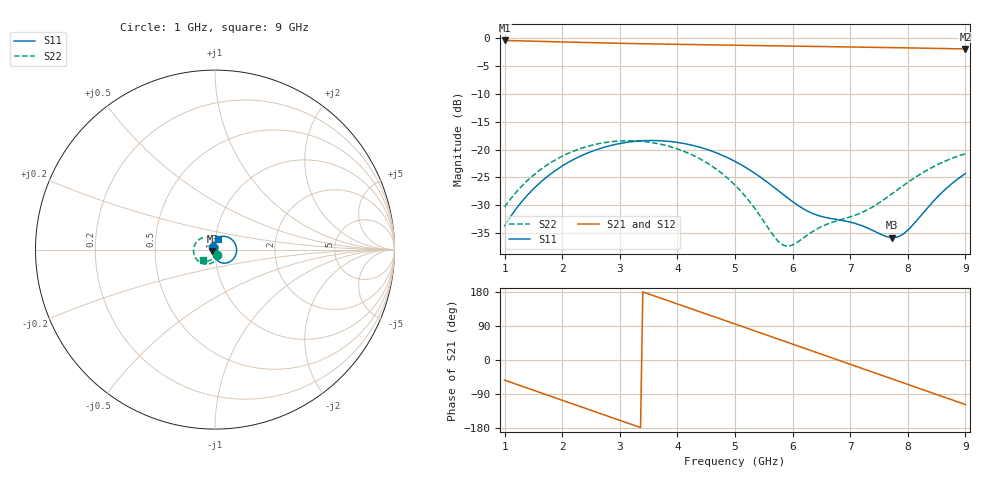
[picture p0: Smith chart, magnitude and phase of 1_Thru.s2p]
! Touchstone 1.1 File - TRL Zero-Length Thru Standard (Fixture A + Fixture B)
! TRL Synthetic Dataset | eps_eff = 3.0 | f_c = 5.0 GHz | delta_l = 8.6543 mm
! Reference Impedance: 50 Ohms | Frequency: 1.0 to 9.0 GHz (201 points)
# GHz S RI R 50
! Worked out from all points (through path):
!   201 points, 1 GHz to 9 GHz, reference 50 ohm
!   highest |S21| = -0.43 dB at 1 GHz (marker M1); lowest = -2.0 dB at 9 GHz (marker M2)
!   group delay of S21, straight-line fit = 147 ps
!   lowest |S11| = -35.8 dB at 7.72 GHz (marker M3), VSWR 1.03, Z = 48.6 - j0.758 ohm
!   |S11| at or under -10 dB: start of sweep to end of sweep
!   |S22| runs from -37.3 to -18.4 dB; largest |S21 - S12| = 0
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1  -0.0128 0.0162  0.5703 -0.7617  0.5703 -0.7617  0.0135 -0.0273
1.36  -0.0117 0.0352  0.2856 -0.8965  0.2856 -0.8965  0.00784 -0.05
1.68  -0.00126 0.0538  0.0107 -0.9317  0.0107 -0.9317  -0.00849 -0.0688
2  0.0188 0.0685  -0.2595 -0.8855  -0.2595 -0.8855  -0.0343 -0.08
2.36  0.0498 0.0741  -0.5291 -0.7441  -0.5291 -0.7441  -0.0688 -0.0775
2.72  0.0824 0.0642  -0.7354 -0.5255  -0.7354 -0.5255  -0.0996 -0.0575
3.04  0.1059 0.0427  -0.8492 -0.2868  -0.8492 -0.2868  -0.1163 -0.0279
3.36  0.1188 0.0131  -0.8891 -0.0277  -0.8891 -0.0277  -0.1186 0.00627
3.68  0.1185 -0.0191  -0.8531 0.23  -0.8531 0.23  -0.1058 0.0379
4.04  0.1033 -0.0505  -0.7268 0.4919  -0.7268 0.4919  -0.0777 0.0622
4.4  0.0773 -0.0702  -0.5234 0.6979  -0.5234 0.6979  -0.0431 0.0697
5  0.031 -0.0718  -0.076 0.8605  -0.076 0.8605  0.00355 0.0478
5.4  0.0109 -0.0574  0.2395 0.8239  0.2395 0.8239  0.016 0.0217
5.84  0.00269 -0.0393  0.5427 0.6557  0.5427 0.6557  0.0134 -0.00328
6  0.00242 -0.034  0.6319 0.5665  0.6319 0.5665  0.00999 -0.00969
6.36  0.00392 -0.0262  0.7773 0.3257  0.7773 0.3257  0.00128 -0.0185
7  0.00148 -0.0223  0.8164 -0.1629  0.8164 -0.1629  -0.0067 -0.0239
7.68  -0.0134 -0.00933  0.5556 -0.6051  0.5556 -0.6051  -0.00793 -0.0377
7.72  -0.0142 -0.0078  0.5324 -0.6248  0.5324 -0.6248  -0.00833 -0.039
7.96  -0.0178 0.00323  0.3794 -0.7234  0.3794 -0.7234  -0.0126 -0.0474
8.36  -0.0155 0.0265  0.0904 -0.8049  0.0904 -0.8049  -0.0279 -0.0602
9  0.0163 0.0586  -0.3694 -0.7079  -0.3694 -0.7079  -0.0689 -0.0604
